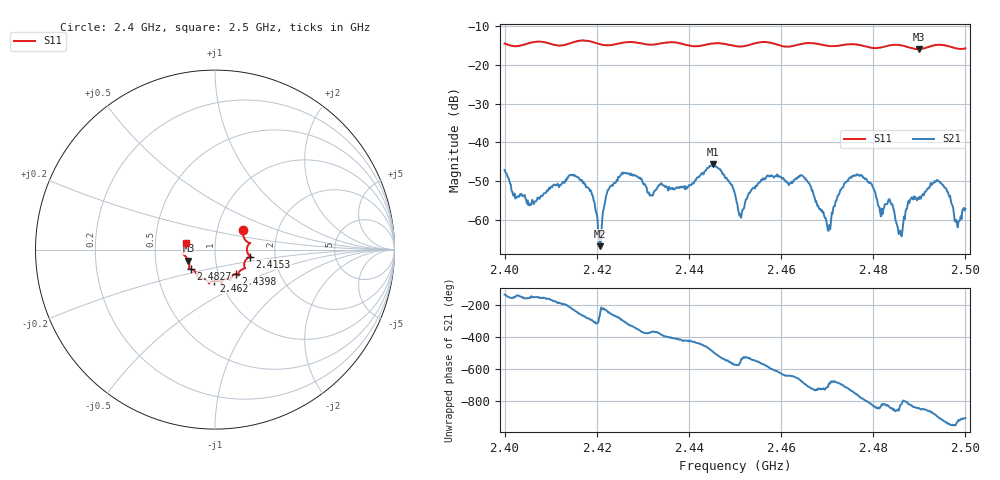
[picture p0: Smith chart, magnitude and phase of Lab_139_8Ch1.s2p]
# Hz S RI R 50
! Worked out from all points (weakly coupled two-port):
!   601 points, 2.4 GHz to 2.5 GHz, reference 50 ohm
!   highest |S21| = -45.61 dB at 2.4452 GHz (marker M1); lowest = -66.9 dB at 2.4207 GHz (marker M2)
!   lowest |S11| = -15.9 dB at 2.4898 GHz (marker M3), VSWR 1.38, Z = 36.9 - j4.62 ohm
!   |S11| at or under -10 dB: start of sweep to end of sweep
!   S12 and S22 are empty: the file has one direction only
!   S11 on the Smith chart (normalised r, x): 2.4 GHz: 1.33, +0.29; 2.4153 GHz: 1.48, -0.12; 2.4398 GHz: 1.21, -0.34; 2.462 GHz: 0.93, -0.33; 2.4827 GHz: 0.75, -0.17; 2.5 GHz: 0.72, +0.06
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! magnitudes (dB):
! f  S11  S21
! 2.4 GHz  -14.5  -47.2
! 2.4053 GHz  -14.4  -55.8
! 2.4153 GHz  -14.0  -48.7
! 2.4167 GHz  -13.7  -49.9
! 2.4207 GHz  -14.7  -66.9
! 2.4223 GHz  -14.9  -52.6
! 2.4252 GHz  -14.4  -48.5
! 2.4333 GHz  -14.6  -51.5
! 2.4398 GHz  -15.0  -51.6
! 2.4452 GHz  -14.5  -45.6
! 2.45 GHz  -15.1  -53.4
! 2.462 GHz  -15.2  -50.6
! 2.4667 GHz  -14.4  -52.5
! 2.4703 GHz  -15.1  -62.9
! 2.476 GHz  -14.7  -48.6
! 2.4827 GHz  -15.2  -56.0
! 2.4833 GHz  -15.0  -54.8
! 2.4858 GHz  -14.9  -62.9
! 2.4898 GHz  -15.9  -54.3
! 2.4938 GHz  -14.8  -49.8
! 2.4982 GHz  -15.8  -61.0
! 2.5 GHz  -15.7  -57.2
